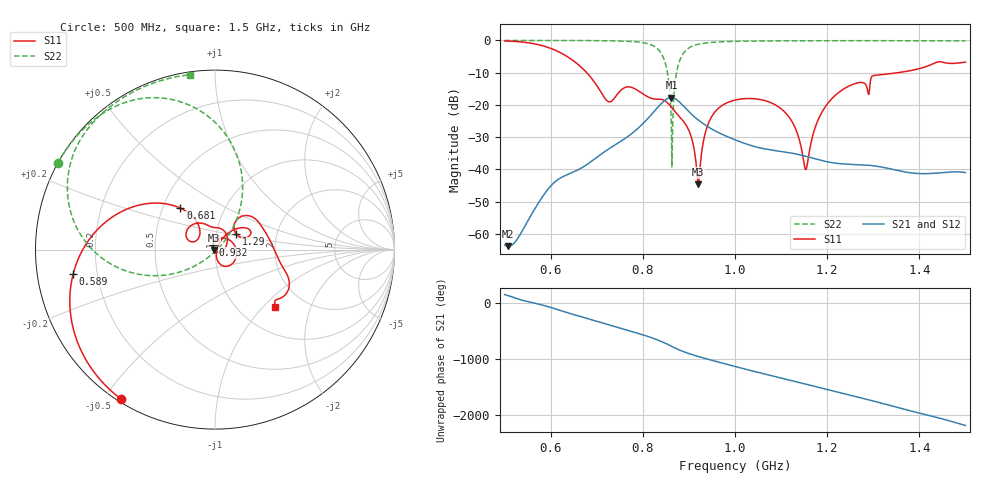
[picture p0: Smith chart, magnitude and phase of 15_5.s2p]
! TOUCHSTONE file generated by CST MICROWAVE STUDIO
! Date and time: Fri Oct  2 19:10:14 2020
! Project name: Scenario_1_Free_Space_out_of_line.cst
! Parameters = {Lambda=346.42; Step_1=17.321; dy1=104.866; dx1=866; L_HA=400; MT=2.54; Rad_Dielectric=30; Rad_Lower=7.3; Rad_Upper=30; a_HA=580; a_WG=246; b_HA=500; b_WG=121; c_HA=0; c_WG=187; d_feed=85; h_feed=15; h_lower=18; h_upper=40}
! Header version: 2018
! Port assignment regex: !\s*Touchstone port\s*([0-9]+)\s*=\s*(CST MWS port|CST DS port)\s*([0-9]+|Zmin|Zmax)\s*\(\"(.*)\"\)(\s*mode\s*([0-9]+))?.*
! Touchstone port assignment:
! Touchstone port 1 = CST MWS port 1 ("")
! Touchstone port 2 = CST MWS port 2 ("")
# GHz S DB R 50
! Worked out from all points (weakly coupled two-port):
!   1003 points, 500 MHz to 1.5 GHz, reference 50 ohm
!   highest |S21| = -17.69 dB at 862 MHz (marker M1); lowest = -63.8 dB at 508 MHz (marker M2)
!   lowest |S11| = -44.6 dB at 920 MHz (marker M3), VSWR 1.01, Z = 49.6 - j0.436 ohm
!   |S11| at or under -10 dB: 678.2 MHz to 1.353 GHz (674.7 MHz wide, 66.4 % of centre)
!   |S22| runs from -39.3 to 0.0 dB; largest |S21 - S12| = 5.1e-06
!   S11 on the Smith chart (normalised r, x): 500 MHz: 0.01, -0.55; 589 MHz: 0.11, -0.08; 681 MHz: 0.62, +0.31; 932 MHz: 0.98, +0.05; 1.29 GHz: 1.24, +0.22; 1.5 GHz: 1.44, -1.17
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0.5  -0.15 -122.3  -63.45 141.9  -63.45 141.9  -0.01 151.1
0.508  -0.19 -125.7  -63.77 121.6  -63.77 121.6  -0.01 150.6
0.589  -1.92 -170.3  -47.08 -61.5  -47.08 -61.5  -0.02 145.0
0.667  -8.40 137.7  -39.51 104.2  -39.52 104.2  -0.04 138.4
0.681  -10.43 129.9  -38.23 71.2  -38.23 71.2  -0.05 137.0
0.726  -19.01 143.6  -33.62 -38.0  -33.62 -38.0  -0.11 131.6
0.834  -18.22 85.5  -20.49 45.9  -20.49 45.9  -2.90 90.6
0.851  -19.00 59.0  -18.22 -15.2  -18.22 -15.2  -8.29 66.4
0.862  -20.70 41.3  -17.69 -59.6  -17.69 -59.6  -27.54 35.9
0.881  -23.86 16.2  -19.29 -132.7  -19.29 -132.7  -5.87 -166.5
0.904  -29.43 -26.1  -22.67 158.3  -22.67 158.3  -1.98 169.3
0.92  -44.57 -132.0  -24.63 118.0  -24.63 118.0  -1.20 160.2
0.932  -30.88 113.8  -25.87 89.6  -25.87 89.6  -0.88 155.5
0.955  -22.42 59.5  -27.89 37.7  -27.89 37.7  -0.55 149.0
1  -18.50 -2.3  -30.80 -60.7  -30.80 -60.7  -0.28 140.9
1.105  -21.78 -72.3  -34.50 83.4  -34.50 83.4  -0.12 129.6
1.153  -40.00 -18.6  -35.90 -14.6  -35.90 -14.6  -0.10 125.5
1.167  -30.46 52.5  -36.44 -43.6  -36.44 -43.6  -0.10 124.4
1.217  -17.10 48.4  -38.03 -147.1  -38.03 -147.1  -0.09 120.6
1.29  -16.75 36.4  -38.69 65.1  -38.69 65.1  -0.09 115.0
1.334  -10.35 14.0  -39.72 -30.0  -39.72 -30.0  -0.09 111.7
1.5  -6.72 -43.8  -40.95 -32.5  -40.95 -32.5  -0.14 98.2
